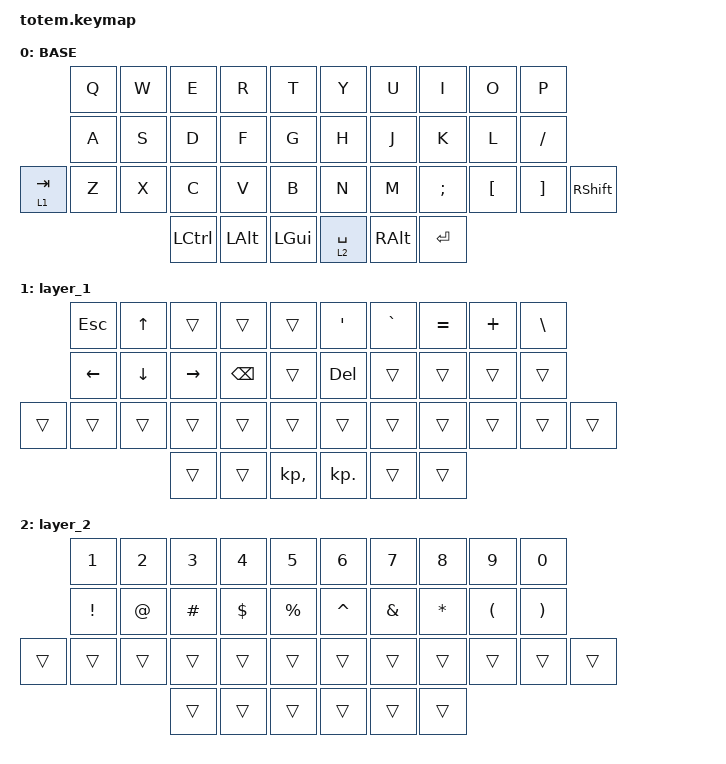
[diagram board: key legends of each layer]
#include <behaviors.dtsi>
#include <dt-bindings/zmk/keys.h>

&sk { release-after-ms = <60000>; };

/ {
    combos {
        compatible = "zmk,combos";

        combo_esc {
            timeout-ms = <50>;
            key-positions = <0 1>;
            bindings = <&kp ESC>;
            layers = <0>;
        };
    };

    behaviors {
        // Wellum-style one-shot sticky modifiers. A second press releases a
        // modifier explicitly, while holding it still works like a normal mod.

        m_release_key_twice: m_release_key_twice {
            compatible = "zmk,behavior-macro-one-param";
            #binding-cells = <1>;
            wait-ms = <0>;
            tap-ms = <0>;
            bindings =
                <&macro_release>,
                <&macro_param_1to1 &kp MACRO_PLACEHOLDER &macro_param_1to1 &kp MACRO_PLACEHOLDER>;
        };

        m_press_key_twice: m_press_key_twice {
            compatible = "zmk,behavior-macro-one-param";
            #binding-cells = <1>;
            wait-ms = <0>;
            tap-ms = <0>;
            bindings =
                <&macro_press>,
                <&macro_param_1to1 &kp MACRO_PLACEHOLDER &macro_param_1to1 &kp MACRO_PLACEHOLDER>,
                <&macro_pause_for_release>,
                <&macro_tap>,
                <&macro_param_1to1 &m_release_key_twice MACRO_PLACEHOLDER>;
        };

        sticky_forever: sticky_forever {
            compatible = "zmk,behavior-sticky-key";
            #binding-cells = <1>;
            bindings = <&m_press_key_twice>;
            release-after-ms = <4294967295>;
            ignore-modifiers;
        };

        cm_gui: cm_gui {
            compatible = "zmk,behavior-mod-morph";
            #binding-cells = <0>;
            bindings = <&sticky_forever LGUI>, <&m_release_key_twice LGUI>;

            mods = <(MOD_LGUI)>;
            keep-mods = <(MOD_LGUI)>;
        };

        cm_alt: cm_alt {
            compatible = "zmk,behavior-mod-morph";
            #binding-cells = <0>;
            bindings = <&sticky_forever LALT>, <&m_release_key_twice LALT>;

            mods = <(MOD_LALT)>;
            keep-mods = <(MOD_LALT)>;
        };

        cm_ctrl: cm_ctrl {
            compatible = "zmk,behavior-mod-morph";
            #binding-cells = <0>;
            bindings = <&sticky_forever LCTRL>, <&m_release_key_twice LCTRL>;

            mods = <(MOD_LCTL)>;
            keep-mods = <(MOD_LCTL)>;
        };

        cm_sft: cm_sft {
            compatible = "zmk,behavior-mod-morph";
            #binding-cells = <0>;
            bindings = <&sticky_forever LSHIFT>, <&m_release_key_twice LSHIFT>;

            mods = <(MOD_LSFT)>;
            keep-mods = <(MOD_LSFT)>;
        };

        // Keep Ctrl/Cmd pressed while the layer key is held, so repeated taps
        // walk through browser tabs or macOS applications.

        m_hold_mod_press_key: m_hold_mod_press_key {
            compatible = "zmk,behavior-macro-two-param";
            #binding-cells = <2>;
            wait-ms = <0>;
            tap-ms = <0>;
            bindings =
                <&macro_press>,
                <&macro_param_1to1 &kp MACRO_PLACEHOLDER>,
                <&macro_tap>,
                <&macro_param_2to1 &kp MACRO_PLACEHOLDER>;
        };

        tabber: tabber {
            compatible = "zmk,behavior-mod-morph";
            #binding-cells = <0>;
            bindings = <&m_hold_mod_press_key LCTRL TAB>, <&kp TAB>;

            mods = <(MOD_LCTL)>;
            keep-mods = <(MOD_LCTL)>;
        };

        swapper_mac: swapper_mac {
            compatible = "zmk,behavior-mod-morph";
            #binding-cells = <0>;
            bindings = <&m_hold_mod_press_key LGUI TAB>, <&kp TAB>;

            mods = <(MOD_LGUI)>;
            keep-mods = <(MOD_LGUI)>;
        };

        // Layer access without hold-tap timing. Pressing a layer key also
        // commits queued sticky modifiers and releases them with the layer.

        la: la {
            compatible = "zmk,behavior-macro-one-param";
            #binding-cells = <1>;
            wait-ms = <0>;
            tap-ms = <0>;
            bindings =
                <&macro_tap>,
                <&kp 0>,
                <&macro_press>,
                <&macro_param_1to1 &mo MACRO_PLACEHOLDER>,
                <&macro_pause_for_release>,
                <&macro_release>,
                <&macro_param_1to1 &mo MACRO_PLACEHOLDER &kp LSHFT &kp LCTRL &kp LALT &kp LGUI>;
        };
    };

    conditional_layers {
        compatible = "zmk,conditional-layers";

        num_layer {
            if-layers = <1 1>;
            then-layer = <1>;
        };
    };

    macros {
    };

    keymap {
        compatible = "zmk,keymap";

        base_layer {
            display-name = "BASE";
            bindings = <
           &kp Q  &kp W  &kp E      &kp R         &kp T           &kp Y        &kp U          &kp I       &kp O     &kp P
           &kp A  &kp S  &kp D      &kp F         &kp G           &kp H        &kp J          &kp K       &kp L     &kp FSLH
&lt 1 TAB  &kp Z  &kp X  &kp C      &kp V         &kp B           &kp N        &kp M          &kp SEMI    &kp LBKT  &kp RBKT  &kp RIGHT_SHIFT
                         &kp LCTRL  &kp LEFT_ALT  &kp LEFT_GUI    &lt 2 SPACE  &kp RIGHT_ALT  &kp RETURN
            >;
        };

        layer_1 {
            bindings = <
        &kp ESCAPE      &kp UP_ARROW    &trans     &trans         &trans          &kp SINGLE_QUOTE  &kp GRAVE  &kp EQUAL  &kp PLUS  &kp BACKSLASH
        &kp LEFT_ARROW  &kp DOWN_ARROW  &kp RIGHT  &kp BACKSPACE  &trans          &kp DELETE        &trans     &trans     &trans    &trans
&trans  &trans          &trans          &trans     &trans         &trans          &trans            &trans     &trans     &trans    &trans         &trans
                                        &trans     &trans         &kp KP_COMMA    &kp KP_DOT        &trans     &trans
            >;
        };

        layer_2 {
            bindings = <
        &kp NUMBER_1  &kp NUMBER_2  &kp NUMBER_3  &kp NUMBER_4  &kp N5         &kp NUMBER_6  &kp N7         &kp N8        &kp N9                &kp N0
        &kp EXCL      &kp AT_SIGN   &kp HASH      &kp DOLLAR    &kp PERCENT    &kp CARET     &kp AMPERSAND  &kp ASTERISK  &kp LEFT_PARENTHESIS  &kp RIGHT_PARENTHESIS
&trans  &trans        &trans        &trans        &trans        &trans         &trans        &trans         &trans        &trans                &trans                 &trans
                                    &trans        &trans        &trans         &trans        &trans         &trans
            >;
        };
    };
};
